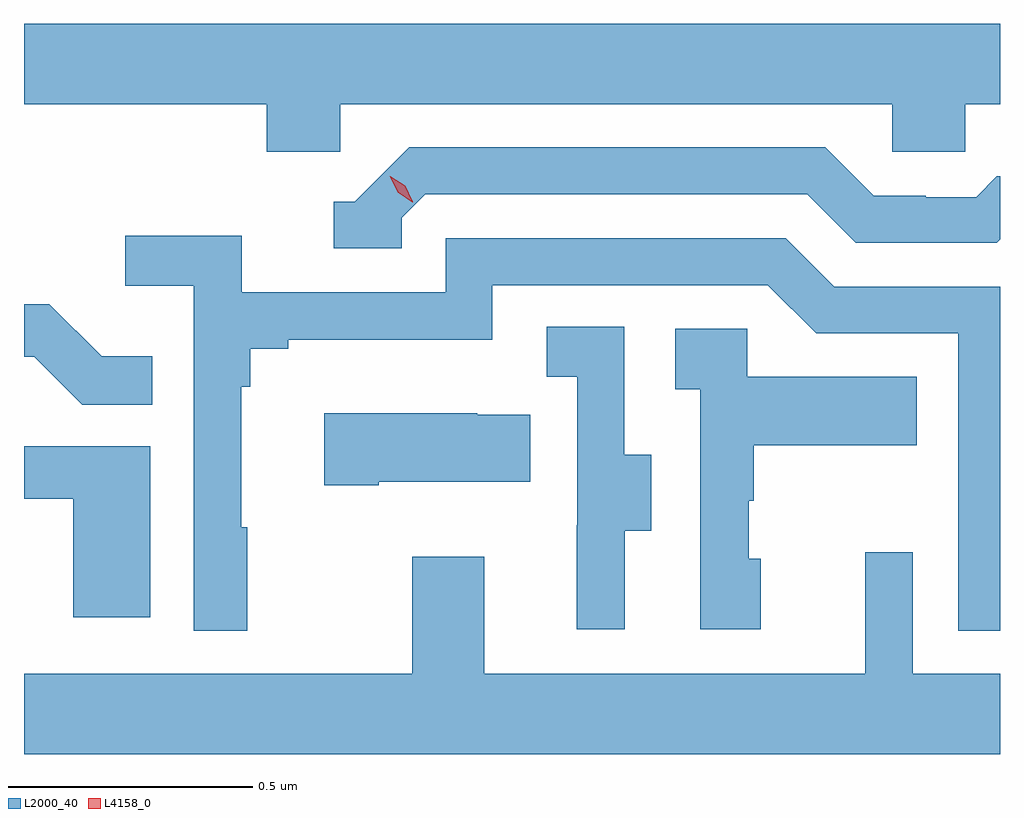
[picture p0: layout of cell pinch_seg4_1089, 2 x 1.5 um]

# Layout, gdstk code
import gdstk
lib = gdstk.Library(unit=1e-6, precision=1e-09)
def P(c, l, *ps):  # polygons
    for p in ps: c.add(gdstk.Polygon(p, *l))
L2000_40 = (2000, 40)
L4158_0 = (4158, 0)

pinch_seg4_1089 = lib.new_cell('pinch_seg4_1089')
P(pinch_seg4_1089, L2000_40, [(886.956,754.196),(888.087,754.196),(888.087,754.098),(888.237,754.098),(888.237,754.196),(888.308,754.196),(888.308,754.36),(886.308,754.36),(886.308,754.196),(886.805,754.196),(886.805,754.098),(886.956,754.098)],
  [(887.082,753.963),(887.13,754.011),(887.913,754.011),(888.012,753.912),(888.301,753.912),(888.308,753.919),(888.308,754.048),(888.301,754.048),(888.259,754.005),(888.156,754.005),(888.156,754.008),(888.049,754.008),(887.95,754.107),(887.097,754.107),(886.986,753.996),(886.943,753.996),(886.943,753.9),(887.082,753.9)],
  [(886.765,753.329),(886.753,753.329),(886.753,753.617),(886.772,753.617),(886.772,753.694),(886.849,753.694),(886.849,753.713),(887.268,753.713),(887.268,753.825),(887.832,753.825),(887.931,753.726),(888.222,753.726),(888.222,753.117),(888.308,753.117),(888.308,753.822),(887.968,753.822),(887.869,753.921),(887.172,753.921),(887.172,753.81),(886.754,753.81),(886.754,753.926),(886.515,753.926),(886.515,753.824),(886.656,753.824),(886.656,753.117),(886.765,753.117)],
  [(886.571,753.679),(886.467,753.679),(886.36,753.786),(886.308,753.786),(886.308,753.678),(886.329,753.678),(886.427,753.58),(886.571,753.58)],
  [(887.539,753.322),(887.593,753.322),(887.593,753.477),(887.538,753.477),(887.538,753.74),(887.379,753.74),(887.379,753.637),(887.442,753.637),(887.442,753.333),(887.441,753.333),(887.441,753.12),(887.539,753.12)],
  [(887.818,753.264),(887.793,753.264),(887.793,753.383),(887.803,753.383),(887.803,753.497),(888.137,753.497),(888.137,753.637),(887.79,753.637),(887.79,753.735),(887.643,753.735),(887.643,753.611),(887.694,753.611),(887.694,753.12),(887.818,753.12)],
  [(887.035,753.422),(887.345,753.422),(887.345,753.559),(887.237,753.559),(887.237,753.562),(886.923,753.562),(886.923,753.415),(887.035,753.415)],
  [(886.567,753.495),(886.308,753.495),(886.308,753.387),(886.409,753.387),(886.409,753.144),(886.567,753.144)],
  [(888.308,753.028),(888.129,753.028),(888.129,753.277),(888.032,753.277),(888.032,753.028),(887.251,753.028),(887.251,753.268),(887.104,753.268),(887.104,753.028),(886.308,753.028),(886.308,752.864),(888.308,752.864)])
P(pinch_seg4_1089, L4158_0, [(887.104,753.995),(887.074,754.015),(887.057,754.048),(887.057,754.048),(887.058,754.048),(887.089,754.028),(887.105,753.996),(887.105,753.995)])

lib.write_gds('pinch_seg4_1089.gds')
